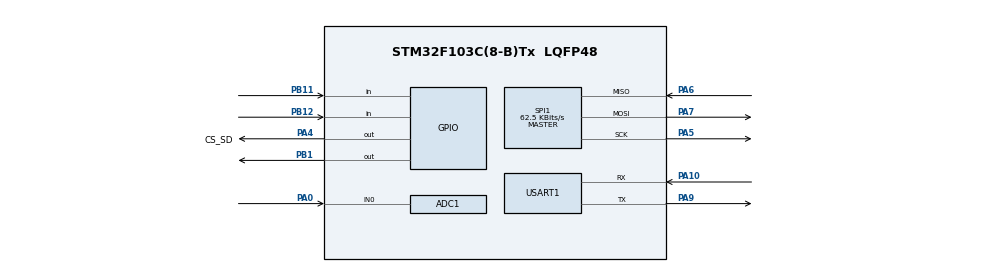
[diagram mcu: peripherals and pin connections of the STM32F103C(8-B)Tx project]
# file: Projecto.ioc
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ADC1.Channel-0\#ChannelRegularConversion=ADC_CHANNEL_0
ADC1.NbrOfConversionFlag=1
ADC1.Rank-0\#ChannelRegularConversion=1
ADC1.SamplingTime-0\#ChannelRegularConversion=ADC_SAMPLETIME_239CYCLES_5
ADC1.master=1
FATFS._MAX_SS=4096
FATFS._USE_LFN=1
Mcu.Family=STM32F1
Mcu.Name=STM32F103C(8-B)Tx
Mcu.Package=LQFP48
NVIC.PriorityGroup=NVIC_PRIORITYGROUP_4
PA0-WKUP.Signal=ADCx_IN0
PA10.Mode=Asynchronous
PA10.Signal=USART1_RX
PA13.Mode=Serial_Wire
PA13.Signal=SYS_JTMS-SWDIO
PA14.Mode=Serial_Wire
PA14.Signal=SYS_JTCK-SWCLK
PA4.GPIO_Label=CS_SD
PA4.Signal=GPIO_Output
PA5.Mode=Full_Duplex_Master
PA5.Signal=SPI1_SCK
PA6.Mode=Full_Duplex_Master
PA6.Signal=SPI1_MISO
PA7.Mode=Full_Duplex_Master
PA7.Signal=SPI1_MOSI
PA9.Mode=Asynchronous
PA9.Signal=USART1_TX
PB1.Signal=GPIO_Output
PB11.GPIO_PuPd=GPIO_PULLDOWN
PB11.Signal=GPIO_Input
PB12.GPIO_PuPd=GPIO_PULLDOWN
PB12.Signal=GPIO_Input
PD0-OSC_IN.Mode=HSE-External-Oscillator
PD0-OSC_IN.Signal=RCC_OSC_IN
PD1-OSC_OUT.Mode=HSE-External-Oscillator
PD1-OSC_OUT.Signal=RCC_OSC_OUT
ProjectManager.HeapSize=0x200
ProjectManager.StackSize=0x400
ProjectManager.TargetToolchain=STM32CubeIDE
RCC.APB1Freq_Value=8000000
RCC.APB2Freq_Value=8000000
RTC.Month=RTC_MONTH_APRIL
SH.ADCx_IN0.0=ADC1_IN0,IN0
SPI1.BaudRatePrescaler=SPI_BAUDRATEPRESCALER_128
SPI1.CalculateBaudRate=62.5 KBits/s
SPI1.Direction=SPI_DIRECTION_2LINES
SPI1.Mode=SPI_MODE_MASTER
SPI1.VirtualType=VM_MASTER
USART1.VirtualMode=VM_ASYNC
VP_FATFS_VS_Generic.Mode=User_defined
VP_RTC_VS_RTC_Activate.Mode=RTC_Enabled
VP_RTC_VS_RTC_Calendar.Mode=RTC_Calendar
board=custom

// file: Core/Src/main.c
/* USER CODE BEGIN Header */
/**
 ******************************************************************************
 * @file           : main.c
 * @brief          : Main program body
 ******************************************************************************
 * @attention
 *
 * Copyright (c) 2024 STMicroelectronics.
 * All rights reserved.
 *
 * This software is licensed under terms that can be found in the LICENSE file
 * in the root directory of this software component.
 * If no LICENSE file comes with this software, it is provided AS-IS.
 *
 ******************************************************************************
 */
/* USER CODE END Header */
#include "main.h"
#include "fatfs.h"

/* USER CODE BEGIN Includes */
#include <string.h>
#include <stdio.h>
#include <math.h>
#include <stdlib.h>
#include "datalogger.h"
/* USER CODE END Includes */

/* USER CODE BEGIN PD */
#define TEMP_RESOLUTION 100000
#define MINUTE_TICK_OFFSET 1000
#define WAIT_5SEC_OFFSET 5000
#define WAIT_2SEC_OFFSET 500
/* USER CODE END PD */

ADC_HandleTypeDef hadc1;

RTC_HandleTypeDef hrtc;

SPI_HandleTypeDef hspi1;

UART_HandleTypeDef huart1;

/* USER CODE BEGIN PV */

typedef enum { espera, waitA, waitB, waitAB }state_t;
typedef enum { null, aPush, bPush, abPush,timeout }event_t;
FATFS filesystem;
FIL file;
uint32_t startTick;
uint32_t offset = MINUTE_TICK_OFFSET;
char timeStr[50];
/* USER CODE END PV */

void SystemClock_Config(void);
static void MX_GPIO_Init(void);
static void MX_SPI1_Init(void);
static void MX_RTC_Init(void);
static void MX_USART1_UART_Init(void);
static void MX_ADC1_Init(void);
/* USER CODE BEGIN PFP */
void RTC_GetTimeStr(char *buffer);
void fsm(state_t *estado,event_t evento);
/* USER CODE END PFP */

/* USER CODE BEGIN 0 */

void RTC_GetTimeStr(char *buffer) {
  RTC_DateTypeDef sDate;
  RTC_TimeTypeDef sTime;

  // Obtiene la fecha y hora actual del RTC
  HAL_RTC_GetDate(&hrtc, &sDate, RTC_FORMAT_BIN);
  HAL_RTC_GetTime(&hrtc, &sTime, RTC_FORMAT_BIN);

  // Formatea la hora como una cadena de caracteres y la guarda en el buffer
  sprintf(buffer, "%02d:%02d:%02d ", sTime.Hours, sTime.Minutes,
          sTime.Seconds);
}
/* USER CODE END 0 */

int main(void)
{
  /* USER CODE BEGIN 1 */
  uint8_t botones = 0;
  state_t estado = espera;
  event_t evento = null;
  char last[100];
  char currentLine[100];
  /* USER CODE END 1 */

  /* MCU Configuration--------------------------------------------------------*/

  /* Reset of all peripherals, Initializes the Flash interface and the Systick. */
  HAL_Init();

  /* Configure the system clock */
  SystemClock_Config();

  /* Initialize all configured peripherals */
  MX_GPIO_Init();
  MX_SPI1_Init();
  MX_FATFS_Init();
  MX_RTC_Init();
  MX_USART1_UART_Init();
  MX_ADC1_Init();

  /* Infinite loop */
  /* USER CODE BEGIN WHILE */

  HAL_GPIO_TogglePin(GPIOB, GPIO_PIN_1);
  f_mount(&filesystem, "", 0);
  if ( FR_NO_FILE == f_open(&file, "tabla.txt", FA_OPEN_ALWAYS | FA_WRITE | FA_READ)){
	  f_lseek(&file, file.fsize);
	  f_puts("|Hora|Temperatura|\n\r|-----|-----|\n\r", &file);
  } else {
	  f_lseek(&file,0);
	  while (f_gets(currentLine, sizeof(currentLine), &file) != 0){
		  strcpy(last,currentLine);
	  }
	  HAL_UART_Transmit(&huart1, (uint8_t *) last, strlen(last), 100);
	  HAL_UART_Transmit(&huart1, "\r", strlen("\r"), 100);
  }
  f_close(&file);
  HAL_GPIO_TogglePin(GPIOB, GPIO_PIN_1);

  GetTemperatura_init(&hadc1, &huart1);
  startTick= HAL_GetTick();
  offset = MINUTE_TICK_OFFSET;

  while (1) {
	  botones = HAL_GPIO_ReadPin(GPIOB, GPIO_PIN_11) + HAL_GPIO_ReadPin(GPIOB, GPIO_PIN_12)*2;

	  switch(botones){
	  case 0:
		  evento = null;
		  break;
	  case 1:
		  evento = aPush;
		  break;
	  case 2:
		  evento = bPush;
		  break;
	  case 3:
		  evento = abPush;
		  break;
	  }

	  if(startTick + offset < HAL_GetTick()){
		  startTick = HAL_GetTick();
		  evento = timeout;
	  }

	  fsm(&estado, evento);
    /* USER CODE END WHILE */

  }
}

void SystemClock_Config(void)
{
  RCC_OscInitTypeDef RCC_OscInitStruct = {0};
  RCC_ClkInitTypeDef RCC_ClkInitStruct = {0};
  RCC_PeriphCLKInitTypeDef PeriphClkInit = {0};

  /** Initializes the RCC Oscillators according to the specified parameters
  * in the RCC_OscInitTypeDef structure.
  */
  RCC_OscInitStruct.OscillatorType = RCC_OSCILLATORTYPE_HSI|RCC_OSCILLATORTYPE_LSI;
  RCC_OscInitStruct.HSIState = RCC_HSI_ON;
  RCC_OscInitStruct.HSICalibrationValue = RCC_HSICALIBRATION_DEFAULT;
  RCC_OscInitStruct.LSIState = RCC_LSI_ON;
  RCC_OscInitStruct.PLL.PLLState = RCC_PLL_NONE;
  if (HAL_RCC_OscConfig(&RCC_OscInitStruct) != HAL_OK)
  {
    Error_Handler();
  }

  /** Initializes the CPU, AHB and APB buses clocks
  */
  RCC_ClkInitStruct.ClockType = RCC_CLOCKTYPE_HCLK|RCC_CLOCKTYPE_SYSCLK
                              |RCC_CLOCKTYPE_PCLK1|RCC_CLOCKTYPE_PCLK2;
  RCC_ClkInitStruct.SYSCLKSource = RCC_SYSCLKSOURCE_HSI;
  RCC_ClkInitStruct.AHBCLKDivider = RCC_SYSCLK_DIV1;
  RCC_ClkInitStruct.APB1CLKDivider = RCC_HCLK_DIV1;
  RCC_ClkInitStruct.APB2CLKDivider = RCC_HCLK_DIV1;

  if (HAL_RCC_ClockConfig(&RCC_ClkInitStruct, FLASH_LATENCY_0) != HAL_OK)
  {
    Error_Handler();
  }
  PeriphClkInit.PeriphClockSelection = RCC_PERIPHCLK_RTC|RCC_PERIPHCLK_ADC;
  PeriphClkInit.RTCClockSelection = RCC_RTCCLKSOURCE_LSI;
  PeriphClkInit.AdcClockSelection = RCC_ADCPCLK2_DIV2;
  if (HAL_RCCEx_PeriphCLKConfig(&PeriphClkInit) != HAL_OK)
  {
    Error_Handler();
  }
}

static void MX_ADC1_Init(void)
{

  ADC_ChannelConfTypeDef sConfig = {0};

  /** Common config
  */
  hadc1.Instance = ADC1;
  hadc1.Init.ScanConvMode = ADC_SCAN_DISABLE;
  hadc1.Init.ContinuousConvMode = DISABLE;
  hadc1.Init.DiscontinuousConvMode = DISABLE;
  hadc1.Init.ExternalTrigConv = ADC_SOFTWARE_START;
  hadc1.Init.DataAlign = ADC_DATAALIGN_RIGHT;
  hadc1.Init.NbrOfConversion = 1;
  if (HAL_ADC_Init(&hadc1) != HAL_OK)
  {
    Error_Handler();
  }

  /** Configure Regular Channel
  */
  sConfig.Channel = ADC_CHANNEL_0;
  sConfig.Rank = ADC_REGULAR_RANK_1;
  sConfig.SamplingTime = ADC_SAMPLETIME_239CYCLES_5;
  if (HAL_ADC_ConfigChannel(&hadc1, &sConfig) != HAL_OK)
  {
    Error_Handler();
  }

}

static void MX_RTC_Init(void)
{

  RTC_TimeTypeDef sTime = {0};
  RTC_DateTypeDef DateToUpdate = {0};

  /** Initialize RTC Only
  */
  hrtc.Instance = RTC;
  hrtc.Init.AsynchPrediv = RTC_AUTO_1_SECOND;
  hrtc.Init.OutPut = RTC_OUTPUTSOURCE_ALARM;
  if (HAL_RTC_Init(&hrtc) != HAL_OK)
  {
    Error_Handler();
  }

  /** Initialize RTC and set the Time and Date
  */
  sTime.Hours = 0x0;
  sTime.Minutes = 0x0;
  sTime.Seconds = 0x0;

  if (HAL_RTC_SetTime(&hrtc, &sTime, RTC_FORMAT_BCD) != HAL_OK)
  {
    Error_Handler();
  }
  DateToUpdate.WeekDay = RTC_WEEKDAY_MONDAY;
  DateToUpdate.Month = RTC_MONTH_APRIL;
  DateToUpdate.Date = 0x1;
  DateToUpdate.Year = 0x0;

  if (HAL_RTC_SetDate(&hrtc, &DateToUpdate, RTC_FORMAT_BCD) != HAL_OK)
  {
    Error_Handler();
  }

}

static void MX_SPI1_Init(void)
{

  /* SPI1 parameter configuration*/
  hspi1.Instance = SPI1;
  hspi1.Init.Mode = SPI_MODE_MASTER;
  hspi1.Init.Direction = SPI_DIRECTION_2LINES;
  hspi1.Init.DataSize = SPI_DATASIZE_8BIT;
  hspi1.Init.CLKPolarity = SPI_POLARITY_LOW;
  hspi1.Init.CLKPhase = SPI_PHASE_1EDGE;
  hspi1.Init.NSS = SPI_NSS_SOFT;
  hspi1.Init.BaudRatePrescaler = SPI_BAUDRATEPRESCALER_128;
  hspi1.Init.FirstBit = SPI_FIRSTBIT_MSB;
  hspi1.Init.TIMode = SPI_TIMODE_DISABLE;
  hspi1.Init.CRCCalculation = SPI_CRCCALCULATION_DISABLE;
  hspi1.Init.CRCPolynomial = 10;
  if (HAL_SPI_Init(&hspi1) != HAL_OK)
  {
    Error_Handler();
  }

}

static void MX_USART1_UART_Init(void)
{

  huart1.Instance = USART1;
  huart1.Init.BaudRate = 115200;
  huart1.Init.WordLength = UART_WORDLENGTH_8B;
  huart1.Init.StopBits = UART_STOPBITS_1;
  huart1.Init.Parity = UART_PARITY_NONE;
  huart1.Init.Mode = UART_MODE_TX_RX;
  huart1.Init.HwFlowCtl = UART_HWCONTROL_NONE;
  huart1.Init.OverSampling = UART_OVERSAMPLING_16;
  if (HAL_UART_Init(&huart1) != HAL_OK)
  {
    Error_Handler();
  }

}

static void MX_GPIO_Init(void)
{
  GPIO_InitTypeDef GPIO_InitStruct = {0};

  /* GPIO Ports Clock Enable */
  __HAL_RCC_GPIOD_CLK_ENABLE();
  __HAL_RCC_GPIOA_CLK_ENABLE();
  __HAL_RCC_GPIOB_CLK_ENABLE();

  /*Configure GPIO pin Output Level */
  HAL_GPIO_WritePin(CS_SD_GPIO_Port, CS_SD_Pin, GPIO_PIN_RESET);

  /*Configure GPIO pin Output Level */
  HAL_GPIO_WritePin(GPIOB, GPIO_PIN_1, GPIO_PIN_RESET);

  /*Configure GPIO pin : CS_SD_Pin */
  GPIO_InitStruct.Pin = CS_SD_Pin;
  GPIO_InitStruct.Mode = GPIO_MODE_OUTPUT_PP;
  GPIO_InitStruct.Pull = GPIO_NOPULL;
  GPIO_InitStruct.Speed = GPIO_SPEED_FREQ_LOW;
  HAL_GPIO_Init(CS_SD_GPIO_Port, &GPIO_InitStruct);

  /*Configure GPIO pin : PB1 */
  GPIO_InitStruct.Pin = GPIO_PIN_1;
  GPIO_InitStruct.Mode = GPIO_MODE_OUTPUT_PP;
  GPIO_InitStruct.Pull = GPIO_NOPULL;
  GPIO_InitStruct.Speed = GPIO_SPEED_FREQ_LOW;
  HAL_GPIO_Init(GPIOB, &GPIO_InitStruct);

  /*Configure GPIO pins : PB11 PB12 */
  GPIO_InitStruct.Pin = GPIO_PIN_11|GPIO_PIN_12;
  GPIO_InitStruct.Mode = GPIO_MODE_INPUT;
  GPIO_InitStruct.Pull = GPIO_PULLDOWN;
  HAL_GPIO_Init(GPIOB, &GPIO_InitStruct);

}

/* USER CODE BEGIN 4 */
void fsm(state_t *estado,event_t evento){
	switch(*estado){
	case espera:
		switch(evento){
		case timeout:
			RTC_DateTypeDef sDate;
			RTC_TimeTypeDef sTime;
			int32_t adcValue;
			int32_t entero;
			uint32_t decimal;
			char buffer[50];

			/* LEE TEMPERATURA Y LA ESCRIBE EN LA TABLA */
			HAL_RTC_GetDate(&hrtc, &sDate, RTC_FORMAT_BIN);
			HAL_RTC_GetTime(&hrtc, &sTime, RTC_FORMAT_BIN);
			HAL_ADC_Start(&hadc1);
			if (HAL_ADC_PollForConversion(&hadc1, 100) == HAL_OK) {
			  adcValue = HAL_ADC_GetValue(&hadc1);
			}
			HAL_ADC_Stop(&hadc1);
			adcValue = (((adcValue * TEMP_RESOLUTION) / 4095) * 330) - 50 * TEMP_RESOLUTION;
			entero = adcValue / TEMP_RESOLUTION;
			decimal = abs(adcValue % (entero * TEMP_RESOLUTION)) / 1000;
			sprintf(buffer, "| %02d:%02d:%02d | %d,%2.2d °C |\r\n", sTime.Hours, sTime.Minutes, sTime.Seconds, entero, decimal);

			f_open(&file, "tabla.txt", FA_OPEN_EXISTING | FA_WRITE | FA_READ);
			f_lseek(&file, file.fsize);
			f_puts(buffer, &file);
			f_close(&file);

			startTick = HAL_GetTick();
			break;
		case aPush:
			*estado = waitA;
			offset = WAIT_2SEC_OFFSET;
			startTick = HAL_GetTick();
			break;
		case bPush:
			*estado = waitB;
			offset = WAIT_2SEC_OFFSET;
			startTick = HAL_GetTick();
			break;
		case abPush:
			*estado = waitAB;
			offset = WAIT_5SEC_OFFSET;
			startTick = HAL_GetTick();
			break;
		default:
			break;
		}
		break;

	case waitA:
		switch(evento){
		case timeout:
			char buffer[15];
			RTC_GetTimeStr(timeStr);
			GetTemperatura(buffer);
			HAL_UART_Transmit(&huart1, (uint8_t *)timeStr, strlen(timeStr), 100);
			HAL_UART_Transmit(&huart1, (uint8_t *)buffer, strlen(buffer), 100);
			*estado = espera;
			startTick = HAL_GetTick();
			offset = MINUTE_TICK_OFFSET;
			break;
		case aPush:
			startTick = HAL_GetTick();
			break;
		case bPush:
			*estado = waitB;
			startTick = HAL_GetTick();
			break;
		case abPush:
			*estado = waitAB;
			offset = WAIT_5SEC_OFFSET;
			startTick = HAL_GetTick();
			break;
		default:
			break;
		}
		break;

	case waitB:
		switch(evento){
		case timeout:
			char line[100];
			f_open(&file, "tabla.txt", FA_READ);
			f_lseek(&file, 0);
			while (f_gets(line, sizeof(line), &file) != 0) {
			  HAL_UART_Transmit(&huart1, (uint8_t *) line, strlen(line), 100);
			  HAL_UART_Transmit(&huart1, "\r", strlen("\r"), 100);
			}
			f_close(&file);
			*estado = espera;
			startTick = HAL_GetTick();
			offset = MINUTE_TICK_OFFSET;
			break;
		case aPush:
			*estado = waitA;
			startTick = HAL_GetTick();
			break;
		case bPush:
			startTick = HAL_GetTick();
			break;
		case abPush:
			*estado = waitAB;
			offset = WAIT_5SEC_OFFSET;
			startTick = HAL_GetTick();
			break;
		default:
			break;
		}
		break;

	case waitAB:
		switch(evento){
		case timeout:
			f_open(&file, "tabla.txt", FA_CREATE_ALWAYS | FA_WRITE | FA_READ);
			f_puts("|Hora|Temperatura|\n\r|-----|-----|\n\r", &file);
			f_close(&file);

			*estado = espera;
			HAL_GPIO_WritePin(GPIOB, GPIO_PIN_1, GPIO_PIN_RESET);
			HAL_Delay(1000);
			HAL_GPIO_WritePin(GPIOB, GPIO_PIN_1, GPIO_PIN_RESET);
			startTick = HAL_GetTick();
			offset = MINUTE_TICK_OFFSET;
			break;

		case aPush:
			*estado = waitA;
			offset = WAIT_2SEC_OFFSET;
			startTick = HAL_GetTick();
			if(HAL_GPIO_ReadPin(GPIOB, GPIO_PIN_1) == 1){
				HAL_GPIO_WritePin(GPIOB, GPIO_PIN_1, GPIO_PIN_RESET);
			}
			break;
		case bPush:
			*estado = waitB;
			offset = WAIT_2SEC_OFFSET;
			startTick = HAL_GetTick();
			if(HAL_GPIO_ReadPin(GPIOB, GPIO_PIN_1) == 1){
				HAL_GPIO_WritePin(GPIOB, GPIO_PIN_1, GPIO_PIN_RESET);
			}
			break;
		case abPush:
			if((HAL_GetTick() - startTick)%125 < 3){
				HAL_GPIO_TogglePin(GPIOB, GPIO_PIN_1);
				HAL_Delay(4);
			}
			break;
		default:
			if(HAL_GPIO_ReadPin(GPIOB, GPIO_PIN_1) == 1){
				HAL_GPIO_WritePin(GPIOB, GPIO_PIN_1, GPIO_PIN_RESET);
			}
			*estado = espera;
			offset = MINUTE_TICK_OFFSET;
			startTick = HAL_GetTick();
			break;
		}
		break;
	}
}
/* USER CODE END 4 */

void Error_Handler(void)
{
  __disable_irq();
  while (1) {
  }
}

#ifdef  USE_FULL_ASSERT
/**
  * @brief  Reports the name of the source file and the source line number
  *         where the assert_param error has occurred.
  * @param  file: pointer to the source file name
  * @param  line: assert_param error line source number
  * @retval None
  */
void assert_failed(uint8_t *file, uint32_t line)
{
  /* USER CODE BEGIN 6 */
  /* User can add his own implementation to report the file name and line
     number, ex: printf("Wrong parameters value: file %s on line %d\r\n", file,
     line) */
  /* USER CODE END 6 */
}
#endif /* USE_FULL_ASSERT */
